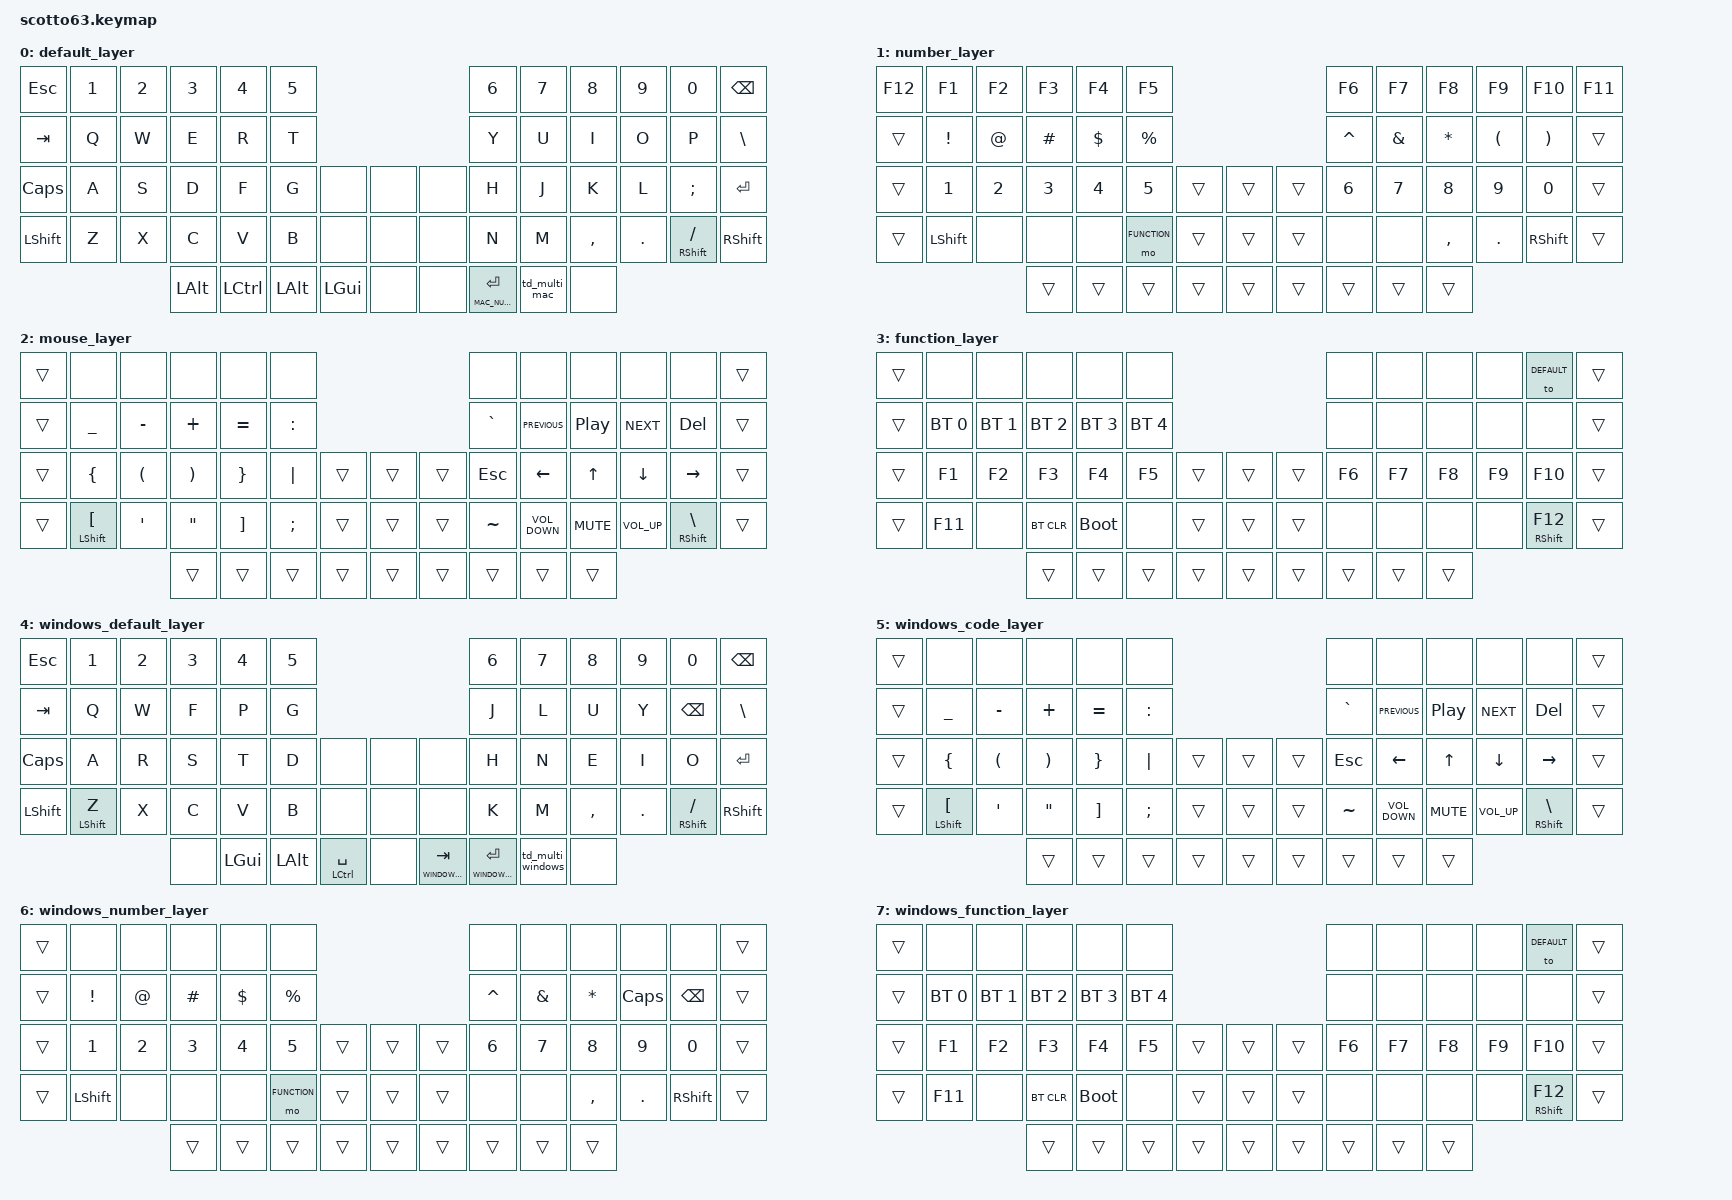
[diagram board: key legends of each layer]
#include <behaviors.dtsi>
#include <dt-bindings/zmk/keys.h>
#include <dt-bindings/zmk/bt.h>

#define DEFAULT     0
#define NUMBER      1
#define MOUSE       2
#define FUNCTION    3

    // Behavior Overrides
    &lt {
        tapping-term-ms = <200>;
        flavor = "hold-preferred";
    };

/ {
    //combos {
      //  compatible = "zmk,combos";
        
        //combo_tab {
        //  timeout-ms = <20>;
        //  key-positions = <1 2>;
        //  bindings = <&kp TAB>;
        //};

      //  combo_enter {
        //    timeout-ms = <20>;
          //  key-positions = <13 14>;
            //bindings = <&kp ENTER>;
        //};
    //};

    macros {
        spotlight: spotlight {
            label = "spotlight";
            compatible = "zmk,behavior-macro";
            #binding-cells = <0>;
            bindings = <&macro_press &kp LGUI>, <&macro_tap &kp SPACE>, <&macro_release &kp LGUI>; 
        };

        // Emoji
        mac_emoji: mac_emoji {
            label = "mac_emoji";
            compatible = "zmk,behavior-macro";
            #binding-cells = <0>;
            bindings = <&macro_press &kp LGUI>, <&macro_press &kp LCTRL>, <&macro_tap &kp SPACE>, <&macro_release &kp LCTRL>, <&macro_release &kp LGUI>; 
        };

        win_emoji: win_emoji {
            label = "win_emoji";
            compatible = "zmk,behavior-macro";
            #binding-cells = <0>;
            bindings = <&macro_press &kp LGUI>, <&macro_tap &kp DOT>, <&macro_release &kp LGUI>; 
        };
    };

    behaviors {
        td_multi_mac: tap_dance_multi_mac {
            compatible = "zmk,behavior-tap-dance";
            label = "TAP_DANCE_MULTI_MAC";
            #binding-cells = <0>;
            tapping-term-ms = <200>;
            bindings = <&kp ESC>, <&spotlight>, <&mac_emoji>;
        };

        td_multi_windows: tap_dance_multi_windows {
            compatible = "zmk,behavior-tap-dance";
            label = "TAP_DANCE_MULTI_WINDOWS";
            #binding-cells = <0>;
            tapping-term-ms = <200>;
            bindings = <&kp ESC>, <&kp LGUI>, <&win_emoji>;
        };

        bm: bottom_row_mods {
            compatible = "zmk,behavior-hold-tap";
            label = "BOTTOM_ROW_MODS";
            #binding-cells = <2>;
            tapping-term-ms = <135>;
            quick-tap-ms = <0>;
            flavor = "tap-preferred";
            bindings = <&kp>, <&kp>;
        };

        cm: code_row_mods {
            compatible = "zmk,behavior-hold-tap";
            label = "CODE_ROW_MODS";
            #binding-cells = <2>;
            tapping-term-ms = <200>;
            quick-tap-ms = <0>;
            flavor = "tap-preferred";
            bindings = <&kp>, <&kp>;
            retro-tap;
        };

        sm: space_mod {
            compatible = "zmk,behavior-hold-tap";
            label = "SPACE_MOD";
            #binding-cells = <2>;
            flavor = "balanced";
            tapping-term-ms = <200>;
            quick-tap-ms = <125>;
            bindings = <&kp>, <&kp>;
        };
    };
    
    keymap {
        compatible = "zmk,keymap";

        default_layer {
            bindings = <
                &kp ESC    &kp N1        &kp N2 &kp N3      &kp N4    &kp N5                                                &kp N6               &kp N7             &kp N8      &kp N9      &kp N0          &kp BACKSPACE
                &kp TAB    &kp Q         &kp W  &kp E       &kp R     &kp T                                                 &kp Y                &kp U              &kp I       &kp O       &kp P           &kp BACKSLASH
                &kp CAPS   &kp A         &kp S  &kp D       &kp F     &kp G     &none          &none    &none               &kp H                &kp J              &kp K       &kp L       &kp SEMICOLON   &kp ENTER
                &kp LSHIFT &kp Z         &kp X  &kp C       &kp V     &kp B     &none          &none    &none               &kp N                &kp M              &kp COMMA   &kp PERIOD  &bm RSHIFT FSLH &kp RSHIFT
                                                &kp LALT    &kp LCTRL &kp LALT  &kp LGUI       &none    &none               &lt MAC_NUMBER ENTER &td_multi_mac      &none
            >;
        };


        number_layer {
            bindings = <
                &kp F12 &kp F1          &kp F2      &kp F3   &kp F4     &kp F5                                &kp F6    &kp F7        &kp F8       &kp F9                 &kp F10               &kp F11
                &trans  &kp EXCLAMATION &kp AT_SIGN &kp HASH &kp DOLLAR &kp PERCENT                           &kp CARET &kp AMPERSAND &kp ASTERISK &kp LEFT_PARENTHESIS   &kp RIGHT_PARENTHESIS &trans
                &trans  &kp N1          &kp N2      &kp N3   &kp N4     &kp N5           &trans &trans &trans &kp N6    &kp N7        &kp N8       &kp N9                 &kp N0                &trans
                &trans  &kp LSHIFT      &none       &none    &none      &mo FUNCTION &trans &trans &trans &none     &none         &kp COMMA    &kp PERIOD             &kp RSHIFT            &trans
                                                    &trans   &trans     &trans           &trans &trans &trans &trans    &trans        &trans
            >;
        };


        mouse_layer {
            bindings = <
                &trans &none                   &none                &none                 &none             &none                              &none     &none             &none            &none            &none                &trans
                &trans &kp UNDER               &kp MINUS            &kp PLUS              &kp EQUAL         &kp COLON                          &kp GRAVE &kp C_PREVIOUS    &kp C_PLAY_PAUSE &kp C_NEXT       &kp DELETE           &trans
                &trans &kp LEFT_BRACE          &kp LEFT_PARENTHESIS &kp RIGHT_PARENTHESIS &kp RIGHT_BRACE   &kp PIPE      &trans &trans &trans &kp ESC   &kp LEFT          &kp UP           &kp DOWN         &kp RIGHT            &trans
                &trans &cm LSHIFT LEFT_BRACKET &kp APOSTROPHE       &kp DOUBLE_QUOTES     &kp RIGHT_BRACKET &kp SEMICOLON &trans &trans &trans &kp TILDE &kp C_VOLUME_DOWN &kp C_MUTE       &kp C_VOLUME_UP  &cm RSHIFT BACKSLASH &trans
                                                                    &trans                &trans            &trans        &trans &trans &trans &trans    &trans            &trans
            >;
        };
        
        
        
        function_layer {
            bindings = <
                &trans &none        &none        &none        &none        &none                             &none     &none  &none  &none  &to DEFAULT    &trans
                &trans &bt BT_SEL 0 &bt BT_SEL 1 &bt BT_SEL 2 &bt BT_SEL 3 &bt BT_SEL 4                      &none     &none  &none  &none  &none          &trans
                &trans &kp F1       &kp F2       &kp F3       &kp F4       &kp F5       &trans &trans &trans &kp F6    &kp F7 &kp F8 &kp F9 &kp F10        &trans
                &trans &kp F11      &none        &bt BT_CLR   &bootloader  &none        &trans &trans &trans &none     &none  &none  &none  &cm RSHIFT F12 &trans
                                                 &trans       &trans       &trans       &trans &trans &trans &trans    &trans &trans
            >;
        };

        windows_default_layer {
            bindings = <
                &kp ESC    &kp N1        &kp N2 &kp N3   &kp N4   &kp N5                                               &kp N6                   &kp N7            &kp N8            &kp N9      &kp N0          &kp BACKSPACE
                &kp TAB    &kp Q         &kp W  &kp F    &kp P    &kp G                                                &kp J                    &kp L             &kp U             &kp Y       &kp BACKSPACE   &kp BACKSLASH
                &kp CAPS   &kp A         &kp R  &kp S    &kp T    &kp D     &none           &none &none                &kp H                    &kp N             &kp E             &kp I       &kp O           &kp ENTER
                &kp LSHIFT &bm LSHIFT Z  &kp X  &kp C    &kp V    &kp B     &none           &none &none                &kp K                    &kp M             &kp COMMA         &kp PERIOD  &bm RSHIFT FSLH &kp RSHIFT
                                                &none    &kp LGUI &kp LALT  &sm LCTRL SPACE &none &lt WINDOWS_CODE TAB &lt WINDOWS_NUMBER ENTER &td_multi_windows &none
            >;
        };

        windows_code_layer {
            bindings = <
                &trans &none                   &none                &none                 &none             &none                              &none     &none             &none            &none            &none                &trans
                &trans &kp UNDER               &kp MINUS            &kp PLUS              &kp EQUAL         &kp COLON                          &kp GRAVE &kp C_PREVIOUS    &kp C_PLAY_PAUSE &kp C_NEXT       &kp DELETE           &trans
                &trans &kp LEFT_BRACE          &kp LEFT_PARENTHESIS &kp RIGHT_PARENTHESIS &kp RIGHT_BRACE   &kp PIPE      &trans &trans &trans &kp ESC   &kp LEFT          &kp UP           &kp DOWN         &kp RIGHT            &trans
                &trans &cm LSHIFT LEFT_BRACKET &kp APOSTROPHE       &kp DOUBLE_QUOTES     &kp RIGHT_BRACKET &kp SEMICOLON &trans &trans &trans &kp TILDE &kp C_VOLUME_DOWN &kp C_MUTE       &kp C_VOLUME_UP  &cm RSHIFT BACKSLASH &trans
                                                                    &trans                &trans            &trans        &trans &trans &trans &trans    &trans            &trans
            >;
        };

        windows_number_layer {
            bindings = <
                &trans &none           &none       &none    &none      &none                                     &none     &none         &none        &none      &none         &trans
                &trans &kp EXCLAMATION &kp AT_SIGN &kp HASH &kp DOLLAR &kp PERCENT                               &kp CARET &kp AMPERSAND &kp ASTERISK &kp CAPS   &kp BACKSPACE &trans
                &trans &kp N1          &kp N2      &kp N3   &kp N4     &kp N5               &trans &trans &trans &kp N6    &kp N7        &kp N8       &kp N9     &kp N0        &trans
                &trans &kp LSHIFT      &none       &none    &none      &mo FUNCTION &trans &trans &trans &none     &none         &kp COMMA    &kp PERIOD &kp RSHIFT    &trans
                                                   &trans   &trans     &trans               &trans &trans &trans &trans    &trans        &trans
            >;
        };

        windows_function_layer {
            bindings = <
                &trans &none        &none        &none        &none        &none                             &none     &none  &none  &none  &to DEFAULT    &trans
                &trans &bt BT_SEL 0 &bt BT_SEL 1 &bt BT_SEL 2 &bt BT_SEL 3 &bt BT_SEL 4                      &none     &none  &none  &none  &none          &trans
                &trans &kp F1       &kp F2       &kp F3       &kp F4       &kp F5       &trans &trans &trans &kp F6    &kp F7 &kp F8 &kp F9 &kp F10        &trans
                &trans &kp F11      &none        &bt BT_CLR   &bootloader  &none        &trans &trans &trans &none     &none  &none  &none  &cm RSHIFT F12 &trans
                                                 &trans       &trans       &trans       &trans &trans &trans &trans    &trans &trans
            >;
        };
    };
};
